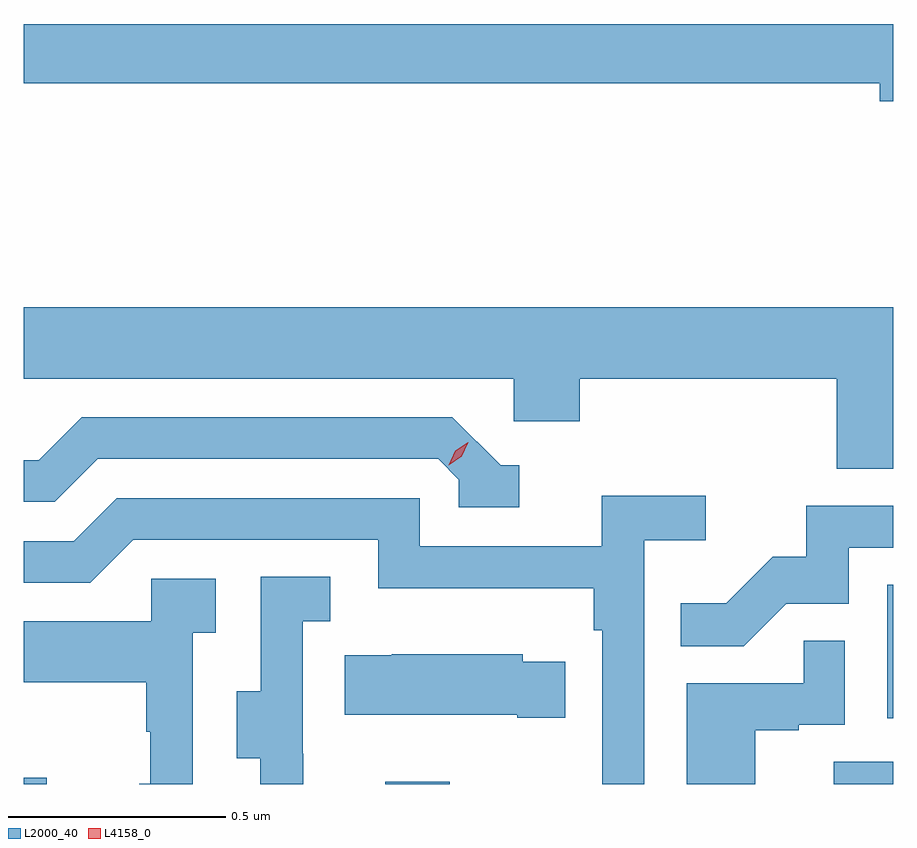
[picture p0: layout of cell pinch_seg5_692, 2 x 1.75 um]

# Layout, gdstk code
import gdstk
lib = gdstk.Library(unit=1e-6, precision=1e-09)
def R(c, l, rs):  # rectangles x0, y0, x1, y1
    for r in rs: c.add(gdstk.rectangle(r[:2], r[2:], *l))
def P(c, l, *ps):  # polygons
    for p in ps: c.add(gdstk.Polygon(p, *l))
L2000_40 = (2000, 40)
L4158_0 = (4158, 0)

pinch_seg5_692 = lib.new_cell('pinch_seg5_692')
R(pinch_seg5_692, L2000_40, [(1093.777,835.847,1093.829,835.861), (1094.609,835.847,1094.757,835.852), (1095.641,835.847,1095.777,835.898), (1095.764,835.998,1095.777,836.305)])
P(pinch_seg5_692, L2000_40, [(1095.777,837.596),(1093.777,837.596),(1093.777,837.46),(1095.746,837.46),(1095.746,837.418),(1095.777,837.418)],
  [(1095.777,836.944),(1093.777,836.944),(1093.777,836.78),(1094.904,836.78),(1094.904,836.682),(1095.056,836.682),(1095.056,836.78),(1095.647,836.78),(1095.647,836.572),(1095.777,836.572)],
  [(1094.917,836.58),(1094.874,836.58),(1094.763,836.691),(1093.91,836.691),(1093.811,836.592),(1093.777,836.592),(1093.777,836.496),(1093.848,836.496),(1093.947,836.595),(1094.73,836.595),(1094.778,836.547),(1094.778,836.484),(1094.917,836.484)],
  [(1095.204,836.408),(1095.346,836.408),(1095.346,836.51),(1095.107,836.51),(1095.107,836.394),(1094.688,836.394),(1094.688,836.505),(1093.991,836.505),(1093.892,836.406),(1093.777,836.406),(1093.777,836.31),(1093.929,836.31),(1094.028,836.409),(1094.592,836.409),(1094.592,836.297),(1095.088,836.297),(1095.088,836.201),(1095.108,836.201),(1095.108,835.847),(1095.204,835.847)],
  [(1095.531,836.262),(1095.675,836.262),(1095.675,836.391),(1095.777,836.391),(1095.777,836.487),(1095.577,836.487),(1095.577,836.37),(1095.5,836.37),(1095.393,836.263),(1095.289,836.263),(1095.289,836.164),(1095.433,836.164)],
  [(1094.42,835.917),(1094.418,835.917),(1094.418,836.221),(1094.482,836.221),(1094.482,836.324),(1094.322,836.324),(1094.322,836.061),(1094.267,836.061),(1094.267,835.906),(1094.321,835.906),(1094.321,835.847),(1094.42,835.847)],
  [(1094.166,836.195),(1094.218,836.195),(1094.218,836.319),(1094.07,836.319),(1094.07,836.221),(1093.777,836.221),(1093.777,836.081),(1094.058,836.081),(1094.058,835.967),(1094.068,835.967),(1094.068,835.848),(1094.042,835.848),(1094.042,835.847),(1094.166,835.847)],
  [(1095.46,835.971),(1095.56,835.971),(1095.56,835.983),(1095.666,835.983),(1095.666,836.177),(1095.571,836.177),(1095.571,836.079),(1095.302,836.079),(1095.302,835.847),(1095.46,835.847)],
  [(1095.023,836.128),(1094.925,836.128),(1094.925,836.146),(1094.623,836.146),(1094.623,836.143),(1094.515,836.143),(1094.515,836.006),(1094.912,836.006),(1094.912,835.999),(1095.023,835.999)])
P(pinch_seg5_692, L4158_0, [(1094.754,836.581),(1094.754,836.581),(1094.769,836.614),(1094.799,836.634),(1094.8,836.634),(1094.8,836.634),(1094.784,836.601),(1094.754,836.581)])

lib.write_gds('pinch_seg5_692.gds')
